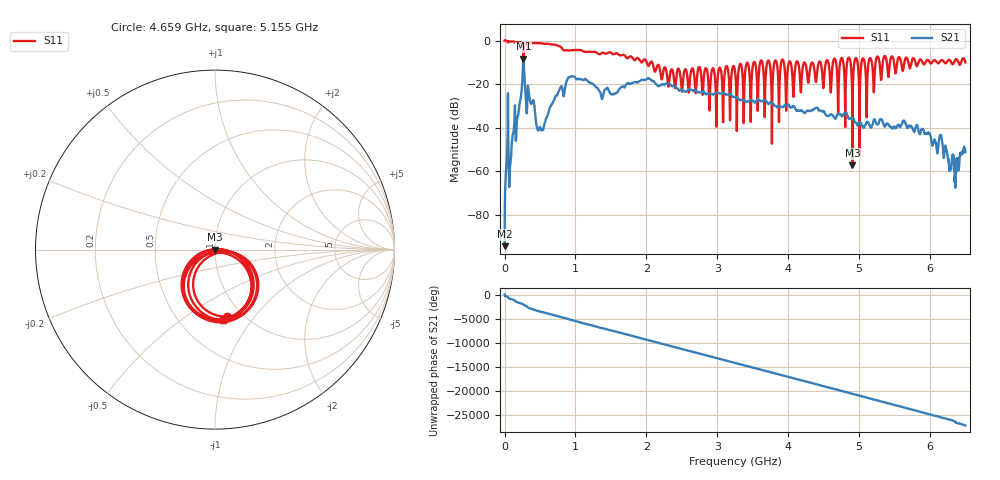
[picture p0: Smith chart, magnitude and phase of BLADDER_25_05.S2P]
!Keysight Technologies,E5063A,MY54503115,A.05.08
!Date: Sun Feb 04 18:22:36 2024
!Data & Calibration Information:
!Freq	S11:NONE(--)	S21:NONE(--)	S12:NONE(--)	S22:NONE(--)
# Hz S dB R 50
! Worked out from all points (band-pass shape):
!   10001 points, 100 kHz to 6.5 GHz, reference 50 ohm
!   highest |S21| = -8.35 dB at 264.6 MHz (marker M1); lowest = -94.5 dB at 100 kHz (marker M2)
!   |S21| within 3 dB of the highest: 259.8 MHz to 270.6 MHz (10.81 MHz wide, 4.08 % of centre)
!   lowest |S11| = -57.4 dB at 4.907 GHz (marker M3), VSWR 1.00, Z = 50.1 + j0.0171 ohm
!   |S11| at or under -10 dB: 2.082 GHz to 3.514 GHz (1.432 GHz wide, 51.2 % of centre); 4.033 GHz to 4.114 GHz (80.97 MHz wide, 1.99 % of centre); 4.138 GHz to 4.434 GHz (295.8 MHz wide, 6.9 % of centre) (the widest 3 of 31)
!   S12 and S22 are empty: the file has one direction only
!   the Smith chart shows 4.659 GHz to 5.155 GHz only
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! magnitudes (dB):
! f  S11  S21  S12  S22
! 100 kHz  0.0  -94.5  -  -
! 30 MHz  -0.1  -54.9  -  -
! 89.15 MHz  -0.5  -53.8  -  -
! 264.6 MHz  -7.6  -8.3  -  -
! 496.7 MHz  -1.2  -39.8  -  -
! 903.6 MHz  -4.6  -16.9  -  -
! 1.084 GHz  -4.6  -17.8  -  -
! 1.371 GHz  -5.7  -26.7  -  -
! 2.167 GHz  -11.1  -21.0  -  -
! 3.25 GHz  -14.1  -26.0  -  -
! 4.334 GHz  -10.2  -31.9  -  -
! 4.805 GHz  -39.7  -33.2  -  -
! 4.856 GHz  -7.8  -35.9  -  -
! 4.907 GHz  -57.4  -35.9  -  -
! 4.956 GHz  -8.0  -37.8  -  -
! 5.005 GHz  -31.7  -37.4  -  -
! 5.056 GHz  -8.2  -39.5  -  -
! 5.104 GHz  -27.4  -37.6  -  -
! 5.417 GHz  -16.3  -38.7  -  -
! 6.151 GHz  -9.3  -43.4  -  -
! 6.375 GHz  -8.5  -55.8  -  -
! 6.5 GHz  -10.1  -51.4  -  -
